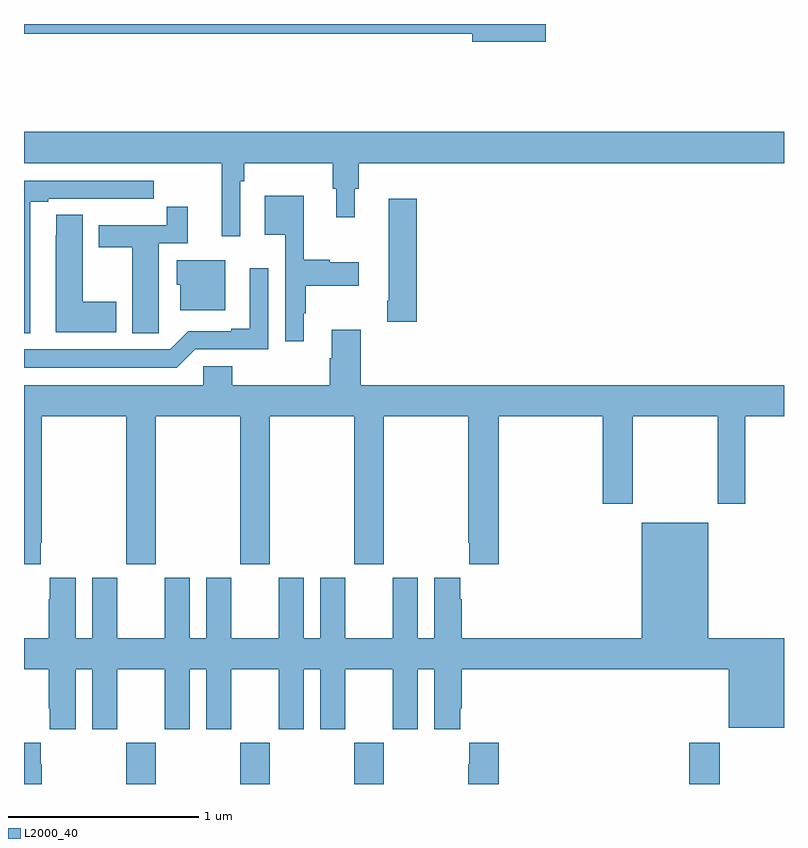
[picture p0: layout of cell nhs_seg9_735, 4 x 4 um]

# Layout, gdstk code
import gdstk
lib = gdstk.Library(unit=1e-6, precision=1e-09)
def R(c, l, rs):  # rectangles x0, y0, x1, y1
    for r in rs: c.add(gdstk.rectangle(r[:2], r[2:], *l))
def A(c, l, x, y, w, h, nx, ny, dx, dy):  # array of equal rectangles
    R(c, l, [(x+i*dx, y+j*dy, x+i*dx+w, y+j*dy+h) for i in range(nx) for j in range(ny)])
def P(c, l, *ps):  # polygons
    for p in ps: c.add(gdstk.Polygon(p, *l))
L2000_40 = (2000, 40)

nhs_seg9_735 = lib.new_cell('nhs_seg9_735')
A(nhs_seg9_735, L2000_40, 149.539, 1178.5, 0.155, 0.216, 3, 1, 0.6, 0)
R(nhs_seg9_735, L2000_40, [(152.501,1178.5,152.661,1178.716)])
P(nhs_seg9_735, L2000_40, [(151.747,1182.5),(149,1182.5),(149,1182.448),(151.358,1182.448),(151.358,1182.406),(151.747,1182.406)],
  [(150.138,1181.672),(150.158,1181.672),(150.158,1181.768),(150.625,1181.768),(150.625,1181.634),(150.644,1181.634),(150.644,1181.484),(150.742,1181.484),(150.742,1181.634),(150.761,1181.634),(150.761,1181.768),(153,1181.768),(153,1181.932),(149,1181.932),(149,1181.768),(150.041,1181.768),(150.041,1181.382),(150.138,1181.382)],
  [(149.032,1181.565),(149.128,1181.565),(149.128,1181.58),(149.404,1181.58),(149.404,1181.579),(149.57,1181.579),(149.57,1181.58),(149.683,1181.58),(149.683,1181.676),(149,1181.676),(149,1180.873),(149.032,1180.873)],
  [(150.472,1180.978),(150.484,1180.978),(150.484,1181.123),(150.763,1181.123),(150.763,1181.245),(150.609,1181.245),(150.609,1181.258),(150.472,1181.258),(150.472,1181.596),(150.266,1181.596),(150.266,1181.39),(150.375,1181.39),(150.375,1180.83),(150.472,1180.83)],
  [(151.067,1181.581),(150.92,1181.581),(150.92,1181.044),(150.913,1181.044),(150.913,1180.932),(151.067,1180.932)],
  [(149.709,1180.984),(149.71,1180.984),(149.71,1181.346),(149.861,1181.346),(149.861,1181.539),(149.752,1181.539),(149.752,1181.442),(149.393,1181.442),(149.393,1181.326),(149.57,1181.326),(149.57,1180.873),(149.709,1180.873)],
  [(149.485,1181.037),(149.308,1181.037),(149.308,1181.495),(149.169,1181.495),(149.169,1181.387),(149.168,1181.387),(149.168,1180.877),(149.485,1180.877)],
  [(150.058,1181.257),(149.804,1181.257),(149.804,1181.127),(149.822,1181.127),(149.822,1180.994),(150.058,1180.994)],
  [(149.901,1180.788),(150.285,1180.788),(150.285,1181.215),(150.188,1181.215),(150.188,1180.897),(150.092,1180.897),(150.092,1180.884),(149.865,1180.884),(149.769,1180.788),(149,1180.788),(149,1180.692),(149.805,1180.692)],
  [(149.089,1179.769),(149.094,1179.769),(149.094,1180.436),(149.539,1180.436),(149.539,1179.657),(149.694,1179.657),(149.694,1180.436),(150.139,1180.436),(150.139,1179.657),(150.294,1179.657),(150.294,1180.436),(150.739,1180.436),(150.739,1179.657),(150.894,1179.657),(150.894,1180.436),(151.339,1180.436),(151.339,1179.769),(151.343,1179.769),(151.343,1179.657),(151.499,1179.657),(151.499,1180.436),(152.045,1180.436),(152.045,1179.975),(152.205,1179.975),(152.205,1180.436),(152.65,1180.436),(152.65,1179.975),(152.797,1179.975),(152.797,1180.436),(153,1180.436),(153,1180.6),(150.773,1180.6),(150.773,1180.891),(150.62,1180.891),(150.62,1180.742),(150.608,1180.742),(150.608,1180.6),(150.095,1180.6),(150.095,1180.698),(149.943,1180.698),(149.943,1180.6),(149,1180.6),(149,1179.657),(149.089,1179.657)],
  [(149.272,1179.104),(149.36,1179.104),(149.36,1178.787),(149.491,1178.787),(149.491,1179.104),(149.741,1179.104),(149.741,1178.787),(149.872,1178.787),(149.872,1179.104),(149.96,1179.104),(149.96,1178.787),(150.091,1178.787),(150.091,1179.104),(150.341,1179.104),(150.341,1178.787),(150.472,1178.787),(150.472,1179.104),(150.56,1179.104),(150.56,1178.787),(150.691,1178.787),(150.691,1179.104),(150.941,1179.104),(150.941,1178.787),(151.072,1178.787),(151.072,1179.104),(151.16,1179.104),(151.16,1178.787),(151.297,1178.787),(151.297,1178.899),(151.304,1178.899),(151.304,1179.104),(152.708,1179.104),(152.708,1178.795),(153,1178.795),(153,1179.268),(152.602,1179.268),(152.602,1179.874),(152.252,1179.874),(152.252,1179.268),(151.304,1179.268),(151.304,1179.473),(151.297,1179.473),(151.297,1179.586),(151.16,1179.586),(151.16,1179.268),(151.072,1179.268),(151.072,1179.586),(150.941,1179.586),(150.941,1179.268),(150.691,1179.268),(150.691,1179.586),(150.56,1179.586),(150.56,1179.268),(150.472,1179.268),(150.472,1179.586),(150.341,1179.586),(150.341,1179.268),(150.091,1179.268),(150.091,1179.586),(149.96,1179.586),(149.96,1179.268),(149.872,1179.268),(149.872,1179.586),(149.741,1179.586),(149.741,1179.268),(149.491,1179.268),(149.491,1179.586),(149.36,1179.586),(149.36,1179.268),(149.272,1179.268),(149.272,1179.586),(149.135,1179.586),(149.135,1179.473),(149.129,1179.473),(149.129,1179.268),(149,1179.268),(149,1179.104),(149.129,1179.104),(149.129,1178.899),(149.135,1178.899),(149.135,1178.787),(149.272,1178.787)],
  [(149.094,1178.603),(149.089,1178.603),(149.089,1178.716),(149,1178.716),(149,1178.5),(149.094,1178.5)],
  [(151.499,1178.716),(151.343,1178.716),(151.343,1178.603),(151.339,1178.603),(151.339,1178.5),(151.499,1178.5)])

lib.write_gds('nhs_seg9_735.gds')
